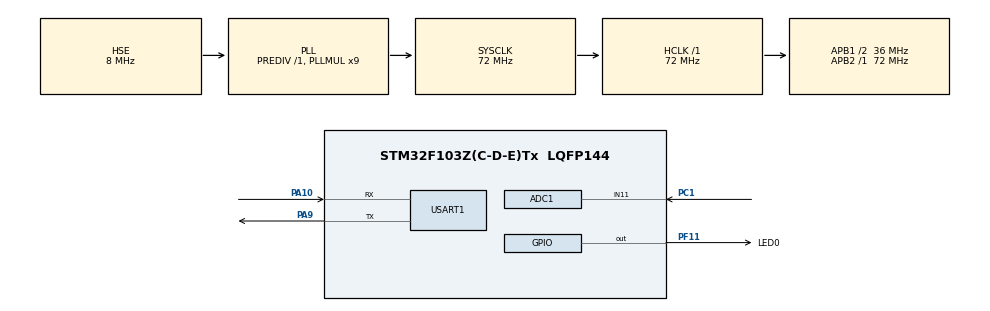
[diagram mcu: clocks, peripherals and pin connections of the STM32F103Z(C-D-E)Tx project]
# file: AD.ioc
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ADC1.Channel-4\#ChannelRegularConversion=ADC_CHANNEL_11
ADC1.ContinuousConvMode=ENABLE
ADC1.ExternalTrigConv=ADC_SOFTWARE_START
ADC1.NbrOfConversionFlag=1
ADC1.Rank-4\#ChannelRegularConversion=1
ADC1.SamplingTime-4\#ChannelRegularConversion=ADC_SAMPLETIME_1CYCLE_5
ADC1.master=1
Mcu.Family=STM32F1
Mcu.Name=STM32F103Z(C-D-E)Tx
Mcu.Package=LQFP144
NVIC.ADC1_2_IRQn=true\:0\:0\:false\:false\:true\:true\:true\:true
NVIC.PriorityGroup=NVIC_PRIORITYGROUP_4
NVIC.RCC_IRQn=true\:0\:0\:false\:false\:true\:true\:false\:true
NVIC.USART1_IRQn=true\:0\:0\:false\:false\:true\:true\:true\:true
OSC_IN.Mode=HSE-External-Oscillator
OSC_IN.Signal=RCC_OSC_IN
OSC_OUT.Mode=HSE-External-Oscillator
OSC_OUT.Signal=RCC_OSC_OUT
PA10.Mode=Asynchronous
PA10.Signal=USART1_RX
PA13.Mode=Serial_Wire
PA13.Signal=SYS_JTMS-SWDIO
PA14.Mode=Serial_Wire
PA14.Signal=SYS_JTCK-SWCLK
PA9.Mode=Asynchronous
PA9.Signal=USART1_TX
PC1.Signal=ADCx_IN11
PF11.GPIO_Label=LED0
PF11.Signal=GPIO_Output
ProjectManager.HeapSize=0x200
ProjectManager.StackSize=0x400
ProjectManager.TargetToolchain=MDK-ARM V5.32
RCC.ADCPresc=RCC_ADCPCLK2_DIV6
RCC.AHBFreq_Value=72000000
RCC.APB1CLKDivider=RCC_HCLK_DIV2
RCC.APB1Freq_Value=36000000
RCC.APB1TimFreq_Value=72000000
RCC.APB2Freq_Value=72000000
RCC.APB2TimFreq_Value=72000000
RCC.HCLKFreq_Value=72000000
RCC.PLLMUL=RCC_PLL_MUL9
RCC.PLLSourceVirtual=RCC_PLLSOURCE_HSE
RCC.SYSCLKFreq_VALUE=72000000
RCC.SYSCLKSource=RCC_SYSCLKSOURCE_PLLCLK
RCC.USBFreq_Value=72000000
SH.ADCx_IN11.0=ADC1_IN11,IN11
USART1.VirtualMode=VM_ASYNC
board=custom

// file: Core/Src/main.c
/* USER CODE BEGIN Header */
/**
  ******************************************************************************
  * @file           : main.c
  * @brief          : Main program body
  ******************************************************************************
  * @attention
  *
  * Copyright (c) 2022 STMicroelectronics.
  * All rights reserved.
  *
  * This software is licensed under terms that can be found in the LICENSE file
  * in the root directory of this software component.
  * If no LICENSE file comes with this software, it is provided AS-IS.
  *
  ******************************************************************************
  */
/* USER CODE END Header */
#include "main.h"
#include "adc.h"
#include "usart.h"
#include "gpio.h"

/* USER CODE BEGIN Includes */
#include <string.h>

/* USER CODE END Includes */

/* USER CODE BEGIN PV */
const char hello[] = "AD from weilinfox\n";
char TxSentMsg[128] = "AD value is:                    \n";
char *AdValueS = TxSentMsg + 13;
char *AdValueE = TxSentMsg + 13 + 17;
uint32_t AdBuffer[5];
uint8_t AdCnt = 0;

/* USER CODE END PV */

void SystemClock_Config(void);

int main(void)
{
  /* USER CODE BEGIN 1 */
	char *p;
	uint32_t v, i;

  /* USER CODE END 1 */

  /* MCU Configuration--------------------------------------------------------*/

  /* Reset of all peripherals, Initializes the Flash interface and the Systick. */
  HAL_Init();

  /* Configure the system clock */
  SystemClock_Config();

  /* Initialize all configured peripherals */
  MX_GPIO_Init();
  MX_ADC1_Init();
  MX_USART1_UART_Init();

  /* Infinite loop */
  /* USER CODE BEGIN WHILE */
	HAL_UART_Transmit(&huart1, (uint8_t*)hello, sizeof(hello), 0xff);
	HAL_ADCEx_Calibration_Start(&hadc1);	// 校准
	HAL_ADC_Start_IT(&hadc1);
  while (1)
  {
    /* USER CODE END WHILE */

    /* USER CODE BEGIN 3 */
		HAL_Delay(100);
		if (AdCnt == 5) {
			p = AdValueE;
			v = 0;
			for (i = 0; i < AdCnt; i++) v += AdBuffer[i];
			v /= 5; AdCnt = 0;
			do {
				*p-- = (v%10) + '0';
				v /= 10;
			} while (v);
			while (p >= AdValueS) *p-- = ' ';
			HAL_UART_Transmit(&huart1, (uint8_t *)TxSentMsg, sizeof(TxSentMsg), 0xff);
		}
  }
  /* USER CODE END 3 */
}

void SystemClock_Config(void)
{
  RCC_OscInitTypeDef RCC_OscInitStruct = {0};
  RCC_ClkInitTypeDef RCC_ClkInitStruct = {0};
  RCC_PeriphCLKInitTypeDef PeriphClkInit = {0};

  /** Initializes the RCC Oscillators according to the specified parameters
  * in the RCC_OscInitTypeDef structure.
  */
  RCC_OscInitStruct.OscillatorType = RCC_OSCILLATORTYPE_HSE;
  RCC_OscInitStruct.HSEState = RCC_HSE_ON;
  RCC_OscInitStruct.HSEPredivValue = RCC_HSE_PREDIV_DIV1;
  RCC_OscInitStruct.HSIState = RCC_HSI_ON;
  RCC_OscInitStruct.PLL.PLLState = RCC_PLL_ON;
  RCC_OscInitStruct.PLL.PLLSource = RCC_PLLSOURCE_HSE;
  RCC_OscInitStruct.PLL.PLLMUL = RCC_PLL_MUL9;
  if (HAL_RCC_OscConfig(&RCC_OscInitStruct) != HAL_OK)
  {
    Error_Handler();
  }

  /** Initializes the CPU, AHB and APB buses clocks
  */
  RCC_ClkInitStruct.ClockType = RCC_CLOCKTYPE_HCLK|RCC_CLOCKTYPE_SYSCLK
                              |RCC_CLOCKTYPE_PCLK1|RCC_CLOCKTYPE_PCLK2;
  RCC_ClkInitStruct.SYSCLKSource = RCC_SYSCLKSOURCE_PLLCLK;
  RCC_ClkInitStruct.AHBCLKDivider = RCC_SYSCLK_DIV1;
  RCC_ClkInitStruct.APB1CLKDivider = RCC_HCLK_DIV2;
  RCC_ClkInitStruct.APB2CLKDivider = RCC_HCLK_DIV1;

  if (HAL_RCC_ClockConfig(&RCC_ClkInitStruct, FLASH_LATENCY_2) != HAL_OK)
  {
    Error_Handler();
  }
  PeriphClkInit.PeriphClockSelection = RCC_PERIPHCLK_ADC;
  PeriphClkInit.AdcClockSelection = RCC_ADCPCLK2_DIV6;
  if (HAL_RCCEx_PeriphCLKConfig(&PeriphClkInit) != HAL_OK)
  {
    Error_Handler();
  }
}

/* USER CODE BEGIN 4 */
void HAL_ADC_ConvCpltCallback(ADC_HandleTypeDef* hadc)
{
  /* Prevent unused argument(s) compilation warning */
  UNUSED(hadc);
  /* NOTE : This function should not be modified. When the callback is needed,
            function HAL_ADC_ConvCpltCallback must be implemented in the user file.
   */
	if (AdCnt != 5)
		AdBuffer[AdCnt++] = HAL_ADC_GetValue(&hadc1);
}
/* USER CODE END 4 */

void Error_Handler(void)
{
  __disable_irq();
  while (1)
  {
  }
}
